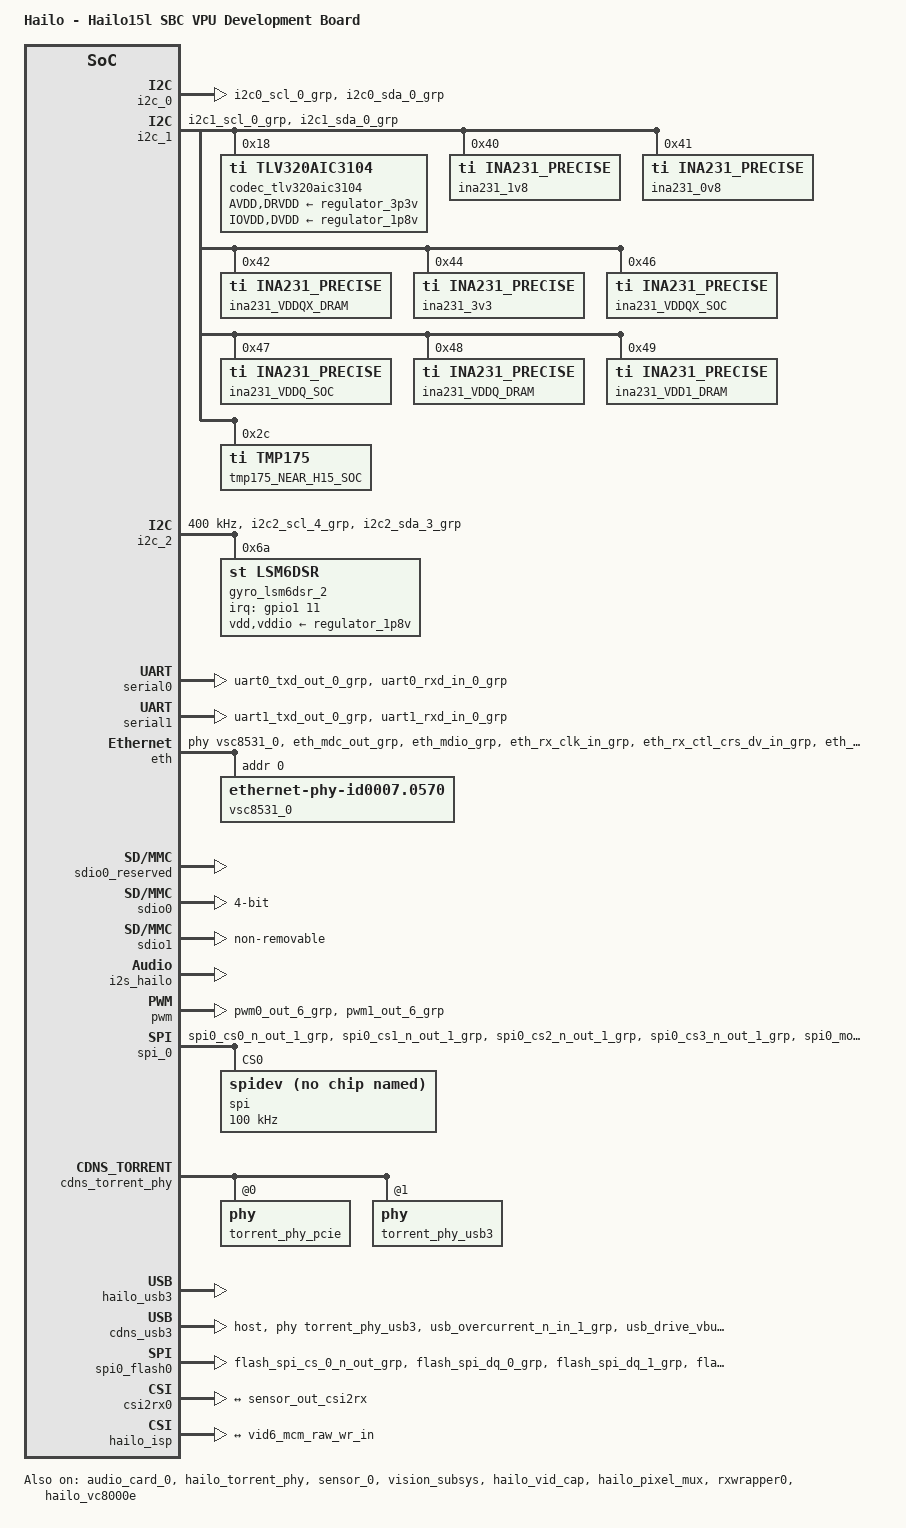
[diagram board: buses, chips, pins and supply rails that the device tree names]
// SPDX-License-Identifier:     GPL-2.0
/*
 * Copyright (c) 2019-2026 Hailo Technologies Ltd. All rights reserved.
 */

/dts-v1/;
#include "hailo15l-base.dtsi"
#include "dt-bindings/net/mscc-phy-vsc8531.h"

/ {
    model = "Hailo - Hailo15l SBC VPU Development Board";
};

&i2c_0 {
    status = "okay";
    /* @note I2C-BUS-0 SCL,SDA pads are non-muxable pins */
    i2c-sda-falling-time-ns = <1000>;
    pinctrl-names = "default";
    pinctrl-0 = <&pinctrl_i2c0_scl>, <&pinctrl_i2c0_sda>;
};

&i2c_1 {
    status = "okay";
    i2c-sda-falling-time-ns = <1000>;
    /* @note I2C-BUS-1 SCL,SDA pads are non-muxable pins */
    pinctrl-names = "default";
    pinctrl-0 = <&pinctrl_i2c1_scl>, <&pinctrl_i2c1_sda>;
    /* @todo - M.2 Ekey, clock buffer, DSI */
    codec_tlv320aic3104: tlv320aic3104@18 {
        #sound-dai-cells = <0>;
        compatible = "ti,tlv320aic3104";
        reg = <0x18>;
        /* @note, If using I2S Controller mode as:
         * - Master: set: ai3x-source-clk = "bclk";
         * - Slave: set: ai3x-source-clk = "mclk";
         */

        ai3x-source-clk = "bclk";
        ai3x-micbias-vg = <2>;
		/* Regulators */
		AVDD-supply = <&regulator_3p3v>;
		IOVDD-supply = <&regulator_1p8v>;
		DRVDD-supply = <&regulator_3p3v>;
		DVDD-supply = <&regulator_1p8v>;
    };

    ina231_1v8: 1v8@40 {
        compatible = "ti,ina231_precise";
        reg = <0x40>;
        shunt-resistor = <100000>;
        max-current = <1000>;
    };
    ina231_0v8: 0v8@41 {
        compatible = "ti,ina231_precise";
        reg = <0x41>;
        shunt-resistor = <1000>;
        max-current = <10000>;
    };
    ina231_VDDQX_DRAM: 1v1@42 {
        compatible = "ti,ina231_precise";
        reg = <0x42>;
        shunt-resistor = <5000>;
        max-current = <300>;
    };
    ina231_3v3: 3v3@44 {
        compatible = "ti,ina231_precise";
        reg = <0x44>;
        shunt-resistor = <100000>;
        max-current = <300>;
    };
    ina231_VDDQX_SOC: 1v1@46 {
        compatible = "ti,ina231_precise";
        reg = <0x46>;
        shunt-resistor = <100000>;
        max-current = <20>;
    };
    ina231_VDDQ_SOC: 0v6@47 {
        compatible = "ti,ina231_precise";
        reg = <0x47>;
        shunt-resistor = <12000>;
        max-current = <62>;
    };
    ina231_VDDQ_DRAM: 0v6@48 {
        compatible = "ti,ina231_precise";
        reg = <0x48>;
        shunt-resistor = <50000>;
        max-current = <27>;
    };
    ina231_VDD1_DRAM: 1v8@49 {
        compatible = "ti,ina231_precise";
        reg = <0x49>;
        shunt-resistor = <100000>;
        max-current = <10>;
    };

    tmp175_NEAR_H15_SOC: NEAR_H15_SOC@2c {
        compatible = "ti,tmp175";
        reg = <0x2c>;
    };

    regulator_0p8v: regulator-0p8v@43 {
        status = "disabled";
        compatible = "ti,tps62872";
        reg = <0x43>;
        regulator-name = "+0.8V";
        regulator-min-microvolt = <400000>;
        regulator-max-microvolt = <1037500>;
        regulator-initial-mode = <2>;
    };

    lcd@45 {
        status = "disabled";
        compatible = "raspberrypi,7inch-touchscreen-panel";
        reg = <0x45>;
        port {
            panel_in: endpoint {
                remote-endpoint = <&dsi0_out>;
            };
        };
    };
};

&i2c_2 {
    status = "ok";
    clock-frequency = <400000>;
    pinctrl-names = "default";
    pinctrl-0 = <&pinctrl_gpio_16>, <&pinctrl_gpio_17>;
    i2c-sda-falling-time-ns = <190>;

    gyro_lsm6dsr_2: lsm6dsr_2@6a {
        compatible = "st,lsm6dsr";
        reg = <0x6a>;
        vdd-supply = <&regulator_1p8v>;
        vddio-supply = <&regulator_1p8v>;
        interrupt-parent = <&gpio1>;
        interrupts = <11 IRQ_TYPE_LEVEL_HIGH>;
        pinctrl-names = "default";
        pinctrl-0 = <&pinctrl_gpio_27>;
    };
};

&serial0 {
    status = "okay";
    pinctrl-names = "default";
    pinctrl-0 = <&pinctrl_uart0_txd>, <&pinctrl_uart0_rxd>;
};

&serial1 {
    status = "okay";
    pinctrl-names = "default";
    pinctrl-0 = <&pinctrl_uart1_txd>, <&pinctrl_uart1_rxd>;
};

&eth {
    status = "okay";
    pinctrl-names = "default";
    pinctrl-0 = <&pinctrl_eth_mdc>,
                <&pinctrl_eth_mdio>,
                <&pinctrl_eth_rx_clk>,
                <&pinctrl_eth_rx_ctl_dv>,
                <&pinctrl_eth_rxd0>,
                <&pinctrl_eth_rxd1>,
                <&pinctrl_eth_rxd2>,
                <&pinctrl_eth_rxd3>,
                <&pinctrl_eth_tx_clk>,
                <&pinctrl_eth_tx_ctl_en>,
                <&pinctrl_eth_txd_0>,
                <&pinctrl_eth_txd_1>,
                <&pinctrl_eth_txd_2>,
                <&pinctrl_eth_txd_3>;
    phy-handle = <&vsc8531_0>;
    #address-cells = <1>;
    #size-cells = <0>;
    vsc8531_0: ethernet-phy@0 {
        reg = <0>;
        compatible = "ethernet-phy-id0007.0570";
        // Set recommended edge-slowdown for vddmac 1.8V (from mscc-phy-vsc8531.txt)
        vsc8531,vddmac = <1800>;
        vsc8531,edge-slowdown = <16>;
        vsc8531,rx-clk-skew = <VSC8531_RGMII_CLK_DELAY_1_7_NS>;
        vsc8531,tx-clk-skew = <VSC8531_RGMII_CLK_DELAY_1_7_NS>;
        vsc8531,led-0-mode = <VSC8531_LINK_1000_ACTIVITY>;
        vsc8531,led-1-mode = <VSC8531_LINK_100_ACTIVITY>;
    };
};

&sdio0_reserved {
    status = "okay";
};

&sdio0 {
    status = "okay";
    sdhci-caps = <0 0x01000000>; // Force VOLT33 capability
    sdhci-caps-mask = <0x00000002 0x00000000>;  // Disable support for SDR104
    bus-width = <4>;
    phy-config {
            card-is-emmc = <0x0>;
            cmd-pad-values = <0x1 0x3 0x1 0x1>; // txslew_ctrl_n, txslew_ctrl_p, weakpull_enable, rxsel
            dat-pad-values = <0x1 0x3 0x1 0x1>; // txslew_ctrl_n, txslew_ctrl_p, weakpull_enable, rxsel
            rst-pad-values = <0x1 0x3 0x1 0x1>; // txslew_ctrl_n, txslew_ctrl_p, weakpull_enable, rxsel
            clk-pad-values = <0x1 0x3 0x0 0x1>; // txslew_ctrl_n, txslew_ctrl_p, weakpull_enable, rxsel
            sdclkdl-cnfg = <0x0 0x50>; //extdly_en, cckdl_dc
            drive-strength = <0xC 0xC>; //pad_sp, pad_sn
    };
};

&sdio1 {
    status = "okay";
    non-removable;
    phy-config {
            card-is-emmc = <0x1>;
            cmd-pad-values = <0x2 0x2 0x1 0x1>; // txslew_ctrl_n, txslew_ctrl_p, weakpull_enable, rxsel
            dat-pad-values = <0x2 0x2 0x1 0x1>; // txslew_ctrl_n, txslew_ctrl_p, weakpull_enable, rxsel
            rst-pad-values = <0x2 0x2 0x1 0x1>; // txslew_ctrl_n, txslew_ctrl_p, weakpull_enable, rxsel
            clk-pad-values = <0x2 0x2 0x0 0x0>; // txslew_ctrl_n, txslew_ctrl_p, weakpull_enable, rxsel
            sdclkdl-cnfg = <0x0 0x64>; //extdly_en, cckdl_dc
            drive-strength = <0xA 0xA>; //pad_sp, pad_sn
            u-boot,dm-spl;
    };
};

&i2s_hailo {
    status = "okay";
    i2s_0_cpu: audio-controller-0@10d000 {
        status = "okay";
        pinctrl-names = "default";
        pinctrl-0 = <&pinctrl_i2s0_sck>,
                    <&pinctrl_i2s0_sdi>,
                    <&pinctrl_i2s0_sdo>,
                    <&pinctrl_i2s0_ws>;
        /* Possible audio-controller configuration to override into you specific board DTS.
         * - Master:
         *   - set one of the following:
         *     - HAILO_I2S_CTRL_CFG(0, XTAL);
         *     - HAILO_I2S_CTRL_CFG(0, PCLK);
         *     - HAILO_I2S_CTRL_CFG(0, FAST_ACLK);
         *     - HAILO_I2S_CTRL_CFG(0, EXTERNAL_MCLK, <OSC Hz>); - E.g: OSC Hz: 12288000
         * - Slave:
         *   - set: HAILO_I2S_CTRL_CFG(0, SLAVE_CLK); - default
         */
         HAILO_I2S_CTRL_CFG(0, PCLK);
    };
};

&audio_card_0 {
    status = "okay";
    /* Possible audio-card configuration to override into you specific board DTS.
     * If using I2S Controller mode as:
     * - Masrer: set SIMPLE_AUDIO_CARD_CFG(0, MASTER);
     * - Slave: set SIMPLE_AUDIO_CARD_CFG(0, SLAVE);
     */
    SIMPLE_AUDIO_CARD_CFG(0, MASTER);
    cpu_dai_0: simple-audio-card,cpu {
        /* Possible CPU DAI configuration to override into you specific board DTS.
         * If using I2S Controller mode as:
         * - Maser: set CPU_DAI_CFG(0, MASTER);
         * - Slave: set CPU_DAI_CFG(0, SLAVE, <OSC Hz>); // OSC Hz is the external oscillator frequency E.g.: 12288000
         */
        CPU_DAI_CFG(0, MASTER);
    };
    codec_dai_0: simple-audio-card,codec {
        sound-dai = <&codec_tlv320aic3104>;
        /* Possible CODEC DAI configuration to override into you specific board DTS.
         * If using I2S Controller mode as:
         * - Master: set CODEC_DAI_CFG(0, MASTER);
         * - Slave: set: CODEC_DAI_CFG(0, SLAVE, <OSC Hz>); // OSC Hz is the external oscillator frequency E.g.: 12288000
         */
        CODEC_DAI_CFG(0, MASTER);
    };
};

&pwm {
    status = "okay";
    hailo15_pwm,supported-channels = <0 1>;
    pinctrl-names = "default";
    pinctrl-0 = <&pinctrl_gpio_30>, <&pinctrl_gpio_31>;
};

&spi_0 {
    status = "okay";
    pinctrl-names = "default";
    pinctrl-0 = <&pinctrl_gpio_20>,
                <&pinctrl_gpio_21>,
                <&pinctrl_gpio_22>,
                <&pinctrl_gpio_23>,
                <&pinctrl_gpio_24>,
                <&pinctrl_gpio_25>,
                <&pinctrl_gpio_26>;
    spi@0 {
        compatible = "spidev";
        reg = <0>;
        spi-max-frequency = <100000>;
    };
};

&dpi0 {
    status = "disabled";
};

&dsi0 {
    status = "disabled";
    ports {
        port@0 {
            reg = <0>;
            dsi0_out: endpoint {
                remote-endpoint = <&panel_in>;
            };
        };
    };
};

&dphy0 {
    status = "disabled";
};


&hailo_torrent_phy {
    status = "okay";
    compatible = "hailo15l,torrent-phy";
    usb-lane = <1>;
    usb-lane-pma-pll-full-rate-divider = <PCI_PMA_PLL_FULL_RATE_CLK_DIVIDER_4>;
    lanes-config = <PCI_PHY_LINK_LANES_CFG__2x1_PLUS_1x2__MASTER_LANES_LN0_LN1_LN2>;
};

&cdns_torrent_phy {
    torrent_phy_pcie: phy@0 {
        reg = <0>;
        resets = <&scmi_reset HAILO15_SCMI_RESET_IDX_PCIE_PHY_LANE_0>;
        #phy-cells = <0>;
        cdns,phy-type = <PHY_TYPE_PCIE>;
        cdns,num-lanes = <1>;
    };
    torrent_phy_usb3: phy@1 {
        reg = <1>;
        resets = <&scmi_reset HAILO15_SCMI_RESET_IDX_PCIE_PHY_LANE_1>;
        #phy-cells = <0>;
        cdns,phy-type = <PHY_TYPE_USB3>;
        cdns,num-lanes = <1>;
        cdns,ssc-mode = <TORRENT_SERDES_NO_SSC>;
    };
};

&hailo_usb3 {
    status = "okay";
};

&cdns_usb3 {
    dr_mode = "host";
    phys = <&torrent_phy_usb3>;
    phy-names = "cdns3,usb3-phy";
    pinctrl-names = "default";
    pinctrl-0 = <&pinctrl_gpio_1>, <&pinctrl_usb_drive_vbus>;
};

&soc {
    pinctrl-names = "default";
    pinctrl-0 = <&pinctrl_jtag_tck>,
                <&pinctrl_jtag_tdi>,
                <&pinctrl_jtag_tdo>,
                <&pinctrl_jtag_tms>,
                <&pinctrl_jtag_trstn_in>;
};

&spi0_flash0 {
    status = "okay";
    pinctrl-names = "default";
    pinctrl-0 = <&pinctrl_flash_cs0_n>,
                <&pinctrl_flash_dq_0_mosi>,
                <&pinctrl_flash_dq_1_miso>,
                <&pinctrl_flash_dq_2>,
                <&pinctrl_flash_dq_3>,
                <&pinctrl_flash_sclk>;
};

&pinctrl {
    early-assignment-pin-groups =
        "uart0_rxd_in_0_grp",
        "uart0_txd_out_0_grp",
        "uart1_rxd_in_0_grp",
        "uart1_txd_out_0_grp",
        "flash_spi_dq_0_grp",
        "flash_spi_dq_1_grp",
        "flash_spi_dq_2_grp",
        "flash_spi_dq_3_grp",
        "flash_spi_sclk_out_grp",
	"jtag_tck_in_grp",
	"jtag_tdi_in_grp",
	"jtag_tdo_out_grp",
	"jtag_tms_grp",
	"jtag_trstn_in_grp";

    /* IO_PAD_0 */
    pinctrl_i2c0_scl: i2c0_scl {
        function = "i2c0_scl";
        groups = "i2c0_scl_0_grp";
        drive-strength = <8>;
    };

    /* IO_PAD_1 */
    pinctrl_i2c0_sda: i2c0_sda {
        function = "i2c0_sda";
        groups = "i2c0_sda_0_grp";
        drive-strength = <8>;
    };

    /* IO_PAD_2 */
    pinctrl_i2c1_scl: i2c1_scl {
        function = "i2c1_scl";
        groups = "i2c1_scl_0_grp";
        drive-strength = <8>;
    };

    /* IO_PAD_3 */
    pinctrl_i2c1_sda: i2c1_sda {
        function = "i2c1_sda";
        groups = "i2c1_sda_0_grp";
        drive-strength = <8>;
    };

    /* IO_PAD_4 */
    pinctrl_uart0_rxd: uart0_rxd {
        function = "uart0_rxd_in";
        groups = "uart0_rxd_in_0_grp";
    };

    /* IO_PAD_5 */
    pinctrl_uart0_txd: uart0_txd {
        function = "uart0_txd_out";
        groups = "uart0_txd_out_0_grp";
    };

    /* IO_PAD_6 */
    pinctrl_uart1_rxd: uart1_rxd {
        function = "uart1_rxd_in";
        groups = "uart1_rxd_in_0_grp";
    };

    /* IO_PAD_7 */
    pinctrl_uart1_txd: uart1_txd {
        function = "uart1_txd_out";
        groups = "uart1_txd_out_0_grp";
    };

    /* IO_PAD_8 */
    pinctrl_eth_mdc: eth_mdc_out {
        function = "eth_mdc_out";
        groups = "eth_mdc_out_grp";
    };

    /* IO_PAD_9 */
    pinctrl_eth_mdio: eth_mdio {
        function = "eth_mdio";
        groups = "eth_mdio_grp";
    };

    /* IO_PAD_10 */
    pinctrl_eth_rx_clk: eth_rx_clk_in {
        function = "eth_rx_clk_in";
        groups = "eth_rx_clk_in_grp";
    };

    /* IO_PAD_11 */
    pinctrl_eth_rx_ctl_dv: eth_rx_ctl_dv_in {
        function = "eth_rx_ctl_crs_dv_in";
        groups = "eth_rx_ctl_crs_dv_in_grp";
    };

    /* IO_PAD_12 */
    pinctrl_eth_rxd0: eth_rxd_0_in {
        function = "eth_rxd_0_in";
        groups = "eth_rxd_0_in_grp";
    };

    /* IO_PAD_13 */
    pinctrl_eth_rxd1: eth_rxd_1_in {
        function = "eth_rxd_1_in";
        groups = "eth_rxd_1_in_grp";
    };

    /* IO_PAD_14 */
    pinctrl_eth_rxd2: eth_rxd_2_in {
        function = "eth_rxd_2_in";
        groups = "eth_rxd_2_in_grp";
    };

    /* IO_PAD_15 */
    pinctrl_eth_rxd3: eth_rxd_3_er_in {
        function = "eth_rxd_3_er_in";
        groups = "eth_rxd_3_er_in_grp";
    };

    /* IO_PAD_16 */
    pinctrl_eth_tx_clk: eth_tx_clk {
        function = "eth_tx_clk_out";
        groups = "eth_tx_clk_out_grp";
        drive-strength = <12>;
    };

    /* IO_PAD_17 */
    pinctrl_eth_tx_ctl_en: eth_tx_ctl_en {
        function = "eth_tx_ctl_en_out";
        groups = "eth_tx_ctl_en_out_grp";
        drive-strength = <13>;
    };

    /* IO_PAD_18 */
    pinctrl_eth_txd_0: eth_txd_0 {
        function = "eth_txd_0_out";
        groups = "eth_txd_0_out_grp";
        drive-strength = <13>;
    };

    /* IO_PAD_19 */
    pinctrl_eth_txd_1: eth_txd_1 {
        function = "eth_txd_1_out";
        groups = "eth_txd_1_out_grp";
        drive-strength = <13>;
    };

    /* IO_PAD_20 */
    pinctrl_eth_txd_2: eth_txd_2 {
        function = "eth_txd_2_out";
        groups = "eth_txd_2_out_grp";
        drive-strength = <13>;
    };

    /* IO_PAD_21 */
    pinctrl_eth_txd_3: eth_txd_3 {
        function = "eth_txd_3_out";
        groups = "eth_txd_3_out_grp";
        drive-strength = <13>;
    };

    /* IO_PAD_22 */
    pinctrl_i2s0_sck: i2s0_sck {
        function = "i2s0_sck";
        groups = "i2s0_sck_0_grp";
    };

    /* IO_PAD_23 */
    pinctrl_i2s0_sdi: i2s0_sdi0 {
        function = "i2s0_sdi0_in";
        groups = "i2s0_sdi0_in_0_grp";
    };

    /* IO_PAD_24 */
    pinctrl_i2s0_sdo: i2s0_sdo0 {
        function = "i2s0_sdo0_out";
        groups = "i2s0_sdo0_out_0_grp";
        drive-strength = <8>;
    };

    /* IO_PAD_25 */
    pinctrl_i2s0_ws: i2s0_ws {
        function = "i2s0_ws";
        groups = "i2s0_ws_0_grp";
    };

    /* IO_PAD_26 */
	pinctrl_flash_cs0_n: flash_cs0_n_out {
	    function = "flash_spi_cs_0_n_out";
        groups = "flash_spi_cs_0_n_out_grp";
    };

    /* IO_PAD_27 */
    pinctrl_flash_cs1_n: flash_cs1_n_out {
	    function = "flash_spi_cs_1_n_out";
        groups = "flash_spi_cs_1_n_out_grp";
    };

    /* IO_PAD_28 */
    pinctrl_flash_cs2_n: flash_cs2_n_out {
	    function = "flash_spi_cs2n_clkc_rebar_out";
        groups = "flash_spi_cs2n_clkc_rebar_out_grp";
    };

    /* IO_PAD_29 - In SBC, flash_ds pin is serving as gpio function, and not connected to any external function */
    pinctrl_flash_ds: flash_ds_in {
	    function = "gpio5";
        groups = "gpio5_1_grp";
    };

    /* IO_PAD_30 */
    pinctrl_flash_dq_0_mosi: flash_dq_0_mosi_in {
	    function = "flash_spi_dq_0";
        groups = "flash_spi_dq_0_grp";
    };

    /* IO_PAD_31 */
    pinctrl_flash_dq_1_miso: flash_dq_1_miso_in {
	    function = "flash_spi_dq_1";
        groups = "flash_spi_dq_1_grp";
    };

    /* IO_PAD_32 */
    pinctrl_flash_dq_2: flash_dq_2_in {
	    function = "flash_spi_dq_2";
        groups = "flash_spi_dq_2_grp";
    };

    /* IO_PAD_33 */
    pinctrl_flash_dq_3: flash_dq_3_in {
	    function = "flash_spi_dq_3";
        groups = "flash_spi_dq_3_grp";
    };

    /* IO_PAD_34 */
    pinctrl_flash_reset_n: flash_reset_n_out {
	    function = "flash_spi_reset_n_out";
        groups = "flash_spi_reset_n_out_grp";
    };

    /* IO_PAD_35 */
    pinctrl_flash_sclk: flash_sclk_out {
	    function = "flash_spi_sclk_out";
        groups = "flash_spi_sclk_out_grp";
    };

    /* IO_PAD_36 */
    pinctrl_pcie_wake_n: pcie_wake_n {
        function = "pcie_wake_n";
        groups = "pcie_wake_n_grp";
    };

    /* IO_PAD_37 */
    pinctrl_pcie_clkreq_n: pcie_clkreq_n {
        function = "pcie_clkreq_n";
        groups = "pcie_clkreq_n_grp";
    };

    /* IO_PAD_38 */
    pinctrl_pcie_perst_n_in: pcie_perst_n_in {
        function = "pcie_perst_n_in";
        groups = "pcie_perst_n_in_grp";
    };

    /* IO_PAD_39 */
    pinctrl_pcie_mperst_n_out: pcie_mperst_n_out {
        function = "pcie_mperst_n_out";
        groups = "pcie_mperst_n_out_grp";
    };

    /* IO_PAD_40 */
    pinctrl_SDIO0_DATA0_SDIO1_DATA4: SDIO0_DATA0_SDIO1_DATA4 {
        function = "SDIO0_DATA0_SDIO1_DATA4";
        groups = "SDIO0_DATA0_SDIO1_DATA4_grp";
    };

    /* IO_PAD_41 */
    pinctrl_SDIO0_DATA1_SDIO1_DATA5: SDIO0_DATA1_SDIO1_DATA5 {
        function = "SDIO0_DATA1_SDIO1_DATA5";
        groups = "SDIO0_DATA1_SDIO1_DATA5_grp";
    };

    /* IO_PAD_42 */
    pinctrl_SDIO0_DATA2_SDIO1_DATA6: SDIO0_DATA2_SDIO1_DATA6 {
        function = "SDIO0_DATA2_SDIO1_DATA6";
        groups = "SDIO0_DATA2_SDIO1_DATA6_grp";
    };

    /* IO_PAD_43 */
    pinctrl_SDIO0_DATA3_SDIO1_DATA7: SDIO0_DATA3_SDIO1_DATA7 {
        function = "SDIO0_DATA3_SDIO1_DATA7";
        groups = "SDIO0_DATA3_SDIO1_DATA7_grp";
    };

    /* IO_PAD_44 */
    pinctrl_SDIO0_SDCLK_SDIO1_DS: SDIO0_SDCLK_SDIO1_DS {
        function = "SDIO0_SDCLK_SDIO1_DS";
        groups = "SDIO0_SDCLK_SDIO1_DS_grp";
    };

    /* IO_PAD_45 */
    pinctrl_SDIO0_CMD_SDIO1_RSTN: SDIO0_CMD_SDIO1_RSTN {
        function = "SDIO0_CMD_SDIO1_RSTN";
        groups = "SDIO0_CMD_SDIO1_RSTN_grp";
    };

    /* IO_PAD_46 */
    pinctrl_SDIO1_DATA0: SDIO1_DATA0 {
        function = "SDIO1_DATA0";
        groups = "SDIO1_DATA0_grp";
    };

    /* IO_PAD_47 */
    pinctrl_SDIO1_DATA1: SDIO1_DATA1 {
        function = "SDIO1_DATA1";
        groups = "SDIO1_DATA1_grp";
    };

    /* IO_PAD_48 */
    pinctrl_SDIO1_DATA2: SDIO1_DATA2 {
        function = "SDIO1_DATA2";
        groups = "SDIO1_DATA2_grp";
    };

    /* IO_PAD_49 */
    pinctrl_SDIO1_DATA3: SDIO1_DATA3 {
        function = "SDIO1_DATA3";
        groups = "SDIO1_DATA3_grp";
    };

    /* IO_PAD_50 - SDIO1_CMD - non-muxable */

    /* IO_PAD_51 */
    pinctrl_SDIO1_SDCLK: SDIO1_SDCLK {
        function = "SDIO1_SDCLK";
        groups = "SDIO1_SDCLK_grp";
    };

    /* IO_PAD_52 - In SBC, parallel_pclk_in pin is serving as gpio function, and not connected to any external function */
    pinctrl_parallel_pclk: parallel_pclk_in {
        function = "gpio0";
        groups = "gpio0_2_grp";
    };

    /* IO_PAD_53 */
    pinctrl_usb_drive_vbus: usb_drive_vbus_out {
        function = "usb_drive_vbus_out";
        groups = "usb_drive_vbus_out_2_grp";
    };

    /* IO_PAD_54 - SAFETY_FATAL_N - non-muxable */

    /* IO_PAD_55 */
    pinctrl_jtag_tck: jtag_tck_in {
        function = "jtag_tck_in";
        groups = "jtag_tck_in_grp";
    };

    /* IO_PAD_56 */
    pinctrl_jtag_tdi: jtag_tdi_in {
        function = "jtag_tdi_in";
        groups = "jtag_tdi_in_grp";
    };

    /* IO_PAD_57 */
    pinctrl_jtag_tdo: jtag_tdo_out {
        function = "jtag_tdo_out";
        groups = "jtag_tdo_out_grp";
    };

    /* IO_PAD_58 */
    pinctrl_jtag_tms: jtag_tms {
        function = "jtag_tms";
        groups = "jtag_tms_grp";
    };

    /* IO_PAD_59 */
    pinctrl_jtag_trstn_in: jtag_trstn_in {
        function = "jtag_trstn_in";
        groups = "jtag_trstn_in_grp";
    };

    /* IO_PAD_60 */
    pinctrl_gpio_0: gpio_0 {
        function = "sdio0_uhs_sel_out";
        groups = "sdio0_uhs_sel_out_0_grp";
    };

    /* IO_PAD_61 */
    pinctrl_gpio_1: gpio_1 {
        function = "usb_overcurrent_n_in";
        groups = "usb_overcurrent_n_in_1_grp";
    };

    /* IO_PAD_62 */
    pinctrl_gpio_2: gpio_2 {
        function = "uart0_cts_in";
        groups = "uart0_cts_in_3_grp";
    };

    /* IO_PAD_63 */
    pinctrl_gpio_3: gpio_3 {
        function = "uart0_rts_out";
        groups = "uart0_rts_out_4_grp";
    };

    /* IO_PAD_64 - GPIO_4 - In SBC, gpio 4 pin is serving as gpio function, and connected to sensor 0 for sensor 0 reset */
    pinctrl_gpio_4: gpio_4 {
        function = "gpio4";
        groups = "gpio4_3_grp";
    };

    /* IO_PAD_65 */
    pinctrl_gpio_5: gpio_5 {
        function = "boot_rom_failure_out";
        groups = "boot_rom_failure_out_grp";
    };

    /* IO_PAD_66 */
    pinctrl_gpio_6: gpio_6 {
        function = "sdio0_vdd1_on_out";
        groups = "sdio0_vdd1_on_out_0_grp";
    };

    /* IO_PAD_67 */
    pinctrl_gpio_7: gpio_7 {
        function = "sdio0_CD_in";
        groups = "sdio0_CD_in_3_grp";
    };

    /* IO_PAD_68 - GPIO_8 - In SBC, gpio 8 pin is serving as gpio function, and connected to sensor 1 for sensor 1 reset */
    pinctrl_gpio_8: gpio_8 {
        function = "gpio8";
        groups = "gpio8_3_grp";
    };

    /* IO_PAD_68 - GPIO_9 - In SBC, gpio 9 pin is serving as gpio function, and not connected to any external function */
    pinctrl_gpio_9: gpio_9 {
        function = "gpio9";
        groups = "gpio9_5_grp";
    };

    /* IO_PAD_70 - GPIO_10 - In SBC, gpio 10 pin is serving as gpio function, and not connected to any external function */
    pinctrl_gpio_10: gpio_10 {
        function = "gpio10";
        groups = "gpio10_4_grp";
    };

    /* IO_PAD_71 - GPIO_11 - In SBC, gpio 11 pin is serving as gpio function, and not connected to any external function */
    pinctrl_gpio_11: gpio_11 {
        function = "gpio11";
        groups = "gpio11_3_grp";
    };

    /* IO_PAD_72 - GPIO_12 - In SBC, gpio 12 pin is serving as gpio function, and not connected to any external function */
    pinctrl_gpio_12: gpio_12 {
        function = "gpio12";
        groups = "gpio12_2_grp";
    };

    /* IO_PAD_73 - GPIO_13 - In SBC, gpio 13 pin is serving as gpio function, and not connected to any external function */
    pinctrl_gpio_13: gpio_13 {
        function = "gpio13";
        groups = "gpio13_2_grp";
    };

    /* IO_PAD_74 - GPIO_14 - In SBC, gpio 14 pin is serving as gpio function, and not connected to any external function */
    pinctrl_gpio_14: gpio_14 {
        function = "gpio14";
        groups = "gpio14_2_grp";
    };

    /* IO_PAD_75 - GPIO_15 - In SBC, gpio 15 pin is serving as gpio function, and not connected to any external function */
    pinctrl_gpio_15: gpio_15 {
        function = "gpio15";
        groups = "gpio15_2_grp";
    };

    /* IO_PAD_76 */
    pinctrl_gpio_16: gpio_16 {
        function = "i2c2_scl";
        groups = "i2c2_scl_4_grp";
        drive-strength = <8>;
    };

    /* IO_PAD_77 */
    pinctrl_gpio_17: gpio_17 {
        function = "i2c2_sda";
        groups = "i2c2_sda_3_grp";
        drive-strength = <8>;
    };

    /* IO_PAD_78 - GPIO_18 - In SBC, gpio 18 pin is serving as gpio function, and connected to GP header for DSI interrupt function */
    pinctrl_gpio_18: gpio_18 {
        function = "gpio18";
        groups = "gpio18_3_grp";
    };

    /* IO_PAD_79 - GPIO_19 - In SBC, gpio 19 pin is serving as gpio function, and connected to USER LED 1 function */
    pinctrl_gpio_19: gpio_19 {
        function = "gpio19";
        groups = "gpio19_3_grp";
    };

    /* IO_PAD_80 */
    pinctrl_gpio_20: gpio_20 {
        function = "spi0_cs0_n_out";
        groups = "spi0_cs0_n_out_1_grp";
    };

    /* IO_PAD_81 */
    pinctrl_gpio_21: gpio_21 {
        function = "spi0_cs1_n_out";
        groups = "spi0_cs1_n_out_1_grp";
    };

    /* IO_PAD_82 */
    pinctrl_gpio_22: gpio_22 {
        function = "spi0_cs2_n_out";
        groups = "spi0_cs2_n_out_1_grp";
    };

    /* IO_PAD_83 */
    pinctrl_gpio_23: gpio_23 {
        function = "spi0_cs3_n_out";
        groups = "spi0_cs3_n_out_1_grp";
    };

    /* IO_PAD_84 */
    pinctrl_gpio_24: gpio_24 {
        function = "spi0_mosi_out";
        groups = "spi0_mosi_out_1_grp";
    };

    /* IO_PAD_85 */
     pinctrl_gpio_25: gpio_25 {
        function = "spi0_miso_in";
        groups = "spi0_miso_in_1_grp";
    };

    /* IO_PAD_86 */
    pinctrl_gpio_26: gpio_26 {
        function = "spi0_sclk_out";
        groups = "spi0_sclk_out_1_grp";
    };

    /* IO_PAD_87 - GPIO_27 - In SBC, gpio 27 pin is serving as gpio function, and connected to USER LED 2 or INT1 of Gyro functions */
    pinctrl_gpio_27: gpio_27 {
        function = "gpio27";
        groups = "gpio27_2_grp";
    };

    /* IO_PAD_88 GPIO_28 - In SBC, gpio 28 pin is serving as gpio function, and connected to power circuit for cold reset function */
    pinctrl_gpio_28: gpio_28 {
        function = "gpio28";
        groups = "gpio28_2_grp";
    };

    /* IO_PAD_89 - GPIO_29 - In SBC, gpio 29 pin is serving as gpio function, and connected to power circuit for shutdown function */
    pinctrl_gpio_29: gpio_29 {
        function = "gpio29";
        groups = "gpio29_2_grp";
    };

    /* IO_PAD_90 */
    pinctrl_gpio_30: gpio_30 {
        function = "pwm0_out";
        groups = "pwm0_out_6_grp";
    };

    /* IO_PAD_91 */
    pinctrl_gpio_31: gpio_31 {
        function = "pwm1_out";
        groups = "pwm1_out_6_grp";
    };
};

#define GPIO_LINE_NAMES \
    "PARALLEL_PCLK",            "",                     "",                         "", \
    "gpio_4 - sensor0_reset",   "FLASH_DS",             "",                         "", \
    "gpio_8 - sensor1_reset",   "gpio_9",               "gpio_10",                  "gpio_11", \
    "gpio_12",                  "gpio_13",              "gpio_14",                  "gpio_15", \
    \
    "",                         "",                     "gpio_18 - dsi_interrupt",  "gpio_19 - USER_LED_1", \
    "FLASH_CS2_N",              "",                     "",                         "", \
    "",                         "",                     "",                         "gpio_27 - USER_LED_2/Gyro INT1", \
    "gpio_28 - cold_reset",     "gpio_29 - shutdown",   "",                         ""

&gpio0 {
    /* The format of gpio-ranges is: <[pin controller phandle], [GPIO controller offset],
                [pin controller offset], [number of pins]>;
    */
    gpio-ranges = <&pinctrl 0 52 1>,
                  <&pinctrl 4 64 1>,
                  <&pinctrl 5 29 1>,
                  <&pinctrl 8 68 8>;

    gpio-line-names = GPIO_LINE_NAMES;
};

&gpio1 {
    gpio-ranges = <&pinctrl 2 78 2>,
                  <&pinctrl 4 28 1>,
                  <&pinctrl 11 87 3>;

    gpio-line-names = GPIO_LINE_NAMES;
};

&i2c_0 {
    status = "ok";
};

&sensor_0 {
    status = "ok";
    reset-gpios = <&gpio0 4 GPIO_ACTIVE_HIGH>;
};

&csi2rx0 {
    status = "ok";
    ports {
        port@0 {
            csi2rx_in_sensor: endpoint {
                remote-endpoint = <&sensor_out_csi2rx>;
            };
        };
    };
};

&vision_subsys {
    status = "okay";
};

&hailo_vid_cap {
    status = "ok";
    ports {
        port@6{
            reg = <HAILO15_VID_GRP_MCM_RAW_WR>;
            vid6_mcm_raw_wr_in: endpoint {
                reg = <HAILO15_VID_GRP_MCM_RAW_WR>;
                sink = <1>;
                path = <HAILO15_VID_GRP_MCM_RAW_WR>;
                remote-endpoint = <&isp_out_s0_mcm_raw_wr>;
            };
        };
    };
};

&hailo_isp {
    status = "ok";
    ports {
        port@7 {
            reg = <7>;
            isp_out_s0_mcm_raw_wr: endpoint {
                sink = <0>;
                remote-endpoint = <&vid6_mcm_raw_wr_in>;
            };
        };
    };
};

&hailo_pixel_mux {
    status = "ok";
};

&rxwrapper0 {
    status = "ok";
};

/ {
};

&hailo_vc8000e {
    status = "ok";
};

&reserved_memory {
    // Media buffer: reserve 768 Mib: [0x88000000 - 0xB8000000)
    hailo_media_buf_cma: hailo_media_buf,cma {
        reg = <0 0x88000000 0 0x30000000>;
    };
};
